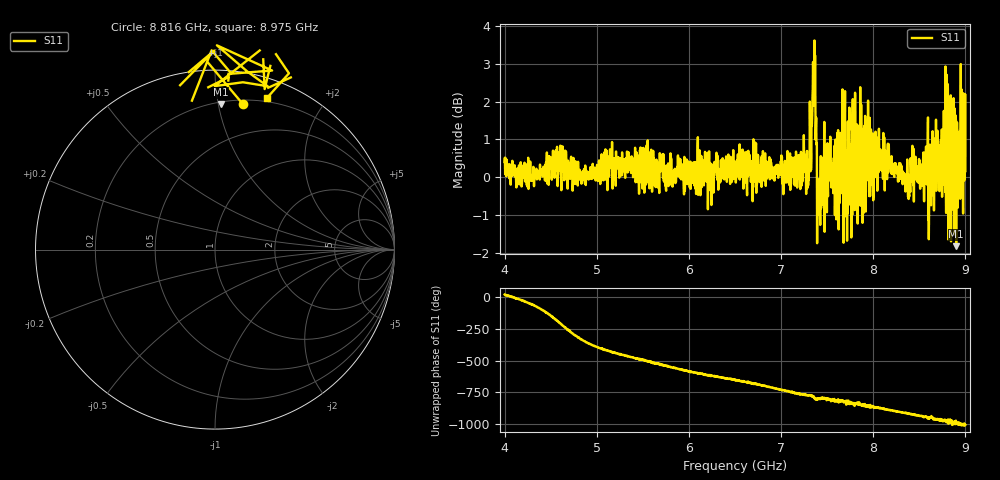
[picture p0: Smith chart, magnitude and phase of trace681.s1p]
! Created with skrf 1.8.0 (http://scikit-rf.org).
# Hz S RI R 50.0
!freq ReS11 ImS11
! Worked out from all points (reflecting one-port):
!   1601 points, 4 GHz to 9 GHz, reference 50 ohm
!   lowest |S11| = -1.8 dB at 8.9 GHz (marker M1), VSWR 9.54, Z = 10.8 + j50.8 ohm
!   phase of S11 starts at 23 deg and turns -1032 deg over the sweep
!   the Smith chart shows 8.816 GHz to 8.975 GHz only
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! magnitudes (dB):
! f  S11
! 4 GHz  0.4
! 4.247 GHz  -0.3
! 4.625 GHz  0.5
! 5.25 GHz  0.3
! 5.875 GHz  0.2
! 6.5 GHz  0.3
! 7.125 GHz  0.2
! 7.284 GHz  -0.3
! 7.356 GHz  2.8
! 7.4 GHz  -0.2
! 7.416 GHz  -0.9
! 7.509 GHz  -0.5
! 7.609 GHz  0.8
! 7.669 GHz  0.5
! 7.703 GHz  0.0
! 7.75 GHz  -0.7
! 7.775 GHz  1.6
! 7.8 GHz  -0.9
! 7.962 GHz  1.6
! 8.375 GHz  0.0
! 8.569 GHz  0.6
! 8.622 GHz  0.7
! 8.656 GHz  0.9
! 8.766 GHz  1.8
! 8.788 GHz  -0.3
! 8.9 GHz  -1.8
! 8.972 GHz  0.5
! 9 GHz  0.2
